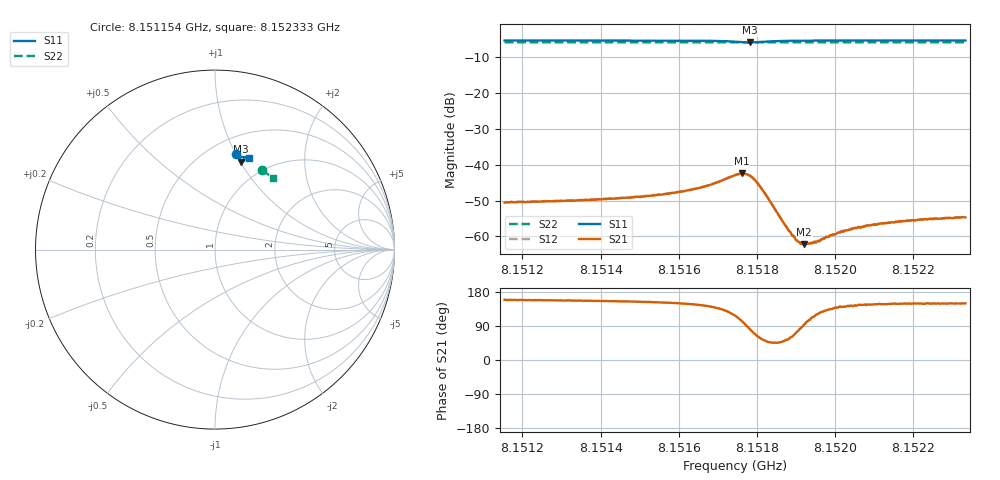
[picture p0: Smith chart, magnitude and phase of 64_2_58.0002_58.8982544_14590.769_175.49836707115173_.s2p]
#  HZ  S  RI  R  50.00
! Rohde & Schwarz Vector Network Analyzer
! Rohde-Schwarz,ZNB20-2Port,1311601062101988,3.16
! Created: UTC 3/21/2024, 12:53:07 AM
! freq[Hz]  re:S11  im:S11  re:S21  im:S21  re:S12  im:S12  re:S22  im:S22
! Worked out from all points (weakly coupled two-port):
!   401 points, 8.151154 GHz to 8.152333 GHz, reference 50 ohm
!   highest |S21| = -42.42 dB at 8.151761 GHz (marker M1); lowest = -62.2 dB at 8.15192 GHz (marker M2)
!   lowest |S11| = -5.8 dB at 8.151782 GHz (marker M3), VSWR 3.09, Z = 38.1 + j50.5 ohm
!   |S11| at or under -10 dB: nowhere
!   |S22| runs from -5.8 to -5.8 dB; largest |S21 - S12| = 0.00014
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8.1511543e9  0.1155 0.5308  -0.00276 0.00106  -0.00276 0.00115  0.2613 0.4427
8.1513517e9  0.1302 0.5276  -0.00293 0.00128  -0.00295 0.00133  0.2721 0.4357
8.1514696e9  0.1393 0.5251  -0.00313 0.00149  -0.00311 0.00155  0.2785 0.4316
8.1515491e9  0.1462 0.5228  -0.00339 0.00178  -0.00339 0.00185  0.2827 0.4287
8.1516139e9  0.1525 0.52  -0.00366 0.00221  -0.00366 0.00232  0.2863 0.4262
8.1516581e9  0.1576 0.5168  -0.00393 0.00283  -0.00392 0.00288  0.2887 0.4245
8.1517436e9  0.1636 0.4977  -0.00328 0.00636  -0.0032 0.00648  0.2928 0.4207
8.1517612e9  0.1579 0.4909  -0.00163 0.00739  -0.00156 0.00744  0.2934 0.4199
8.1517819e9  0.1459 0.4899  0.0011 0.00692  0.00119 0.00697  0.294 0.4192
8.1517966e9  0.1391 0.4956  0.00235 0.00545  0.00243 0.00548  0.2946 0.4189
8.1518113e9  0.1373 0.5027  0.00265 0.00383  0.00268 0.00383  0.2953 0.4187
8.1518703e9  0.1466 0.5163  0.000932 0.00114  0.000953 0.00112  0.2989 0.4169
8.1518938e9  0.1506 0.5177  0.000412 0.000914  0.000425 0.000907  0.3002 0.416
8.1519056e9  0.1523 0.5179  0.000186 0.000817  0.000183 0.000835  0.3008 0.4157
8.1519204e9  0.1542 0.5182  -5.04e-05 0.000771  -3.01e-05 0.000803  0.3017 0.4151
8.1519292e9  0.1554 0.5182  -0.000162 0.000766  -0.000136 0.000716  0.3022 0.4147
8.151941e9  0.1568 0.5181  -0.000314 0.000741  -0.000261 0.000781  0.3028 0.4142
8.1520205e9  0.1652 0.5173  -0.000888 0.000745  -0.000931 0.00077  0.307 0.411
8.1520795e9  0.1701 0.5163  -0.00115 0.00082  -0.00117 0.0008  0.3098 0.4088
8.1521384e9  0.1751 0.515  -0.00132 0.00083  -0.00132 0.000855  0.3129 0.4062
8.1522238e9  0.1815 0.5134  -0.00145 0.000895  -0.00148 0.000904  0.3173 0.403
8.1523329e9  0.1893 0.5108  -0.00158 0.000938  -0.0016 0.001  0.3229 0.3985
